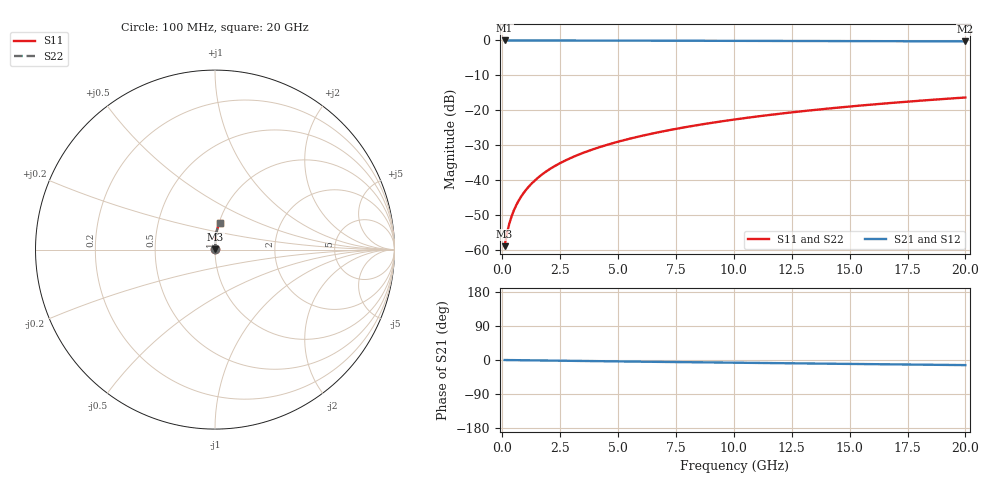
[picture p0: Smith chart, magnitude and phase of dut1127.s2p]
! Touchstone file exported from HFSS 2024.1.0
!  File:  C:/UserFiles/LocalFiles/RDL_TSV_Batchsim/temp_RDL_bottom_1127_1780055108.aedt
!  Generated:  07:47:09 PM May 29, 2026
!  Design:  RDL_bottom
!  Project:  temp_RDL_bottom_1127_1780055108
!  Setup:  Setup1
!  Solution:  Sweep
! Variables:
!  dtsv = 10.80580581um
!  hbump = 3um
!  htsv = 93.62um
!  ldown = 164.12um
!  lrdl = 100um
!  p = 40
!  p1 = 45.56um
!  rhole = 1um
!  t = 450um
!  tdown = 4.44um
!  trdl = 3.915915916um
!  wdown = 18.84um
!  wrdl = 20um
# GHz S MA R 50.000000
! Terminal data exported
! Port[1] = RDL1_T1
! Port[2] = RDL1_T2
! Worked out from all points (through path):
!   200 points, 100 MHz to 20 GHz, reference 50 ohm
!   highest |S21| = -0.01 dB at 100 MHz (marker M1); lowest = -0.3 dB at 20 GHz (marker M2)
!   group delay of S21, straight-line fit = 1.86 ps
!   lowest |S11| = -58.9 dB at 100 MHz (marker M3), VSWR 1.00, Z = 50.1 + j0.0753 ohm
!   |S11| at or under -10 dB: start of sweep to end of sweep
!   |S22| runs from -58.9 to -16.3 dB; largest |S21 - S12| = 4.2e-15
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0.1  0.001138 41.4  0.9991 -0.1  0.9991 -0.1  0.001138 41.4
! Gamma 0 0 0 0
! Port Impedance 50 0 50 0
0.2  0.001728 58.9  0.9991 -0.2  0.9991 -0.2  0.001728 58.9
0.3  0.002374 67.0  0.9991 -0.2  0.9991 -0.2  0.002374 67.0
0.4  0.003035 71.7  0.999 -0.3  0.999 -0.3  0.003035 71.7
0.5  0.003702 74.8  0.999 -0.4  0.999 -0.4  0.003702 74.8
0.6  0.004376 77.0  0.9989 -0.5  0.9989 -0.5  0.004376 77.0
0.8  0.005736 80.0  0.9989 -0.6  0.9989 -0.6  0.005736 80.0
1.1  0.007798 82.6  0.9987 -0.8  0.9987 -0.8  0.007798 82.6
1.5  0.01057 84.5  0.9985 -1.1  0.9985 -1.1  0.01057 84.5
1.8  0.01266 85.4  0.9983 -1.4  0.9983 -1.4  0.01266 85.4
2.1  0.01477 86.0  0.9981 -1.6  0.9981 -1.6  0.01477 86.0
2.7  0.01899 86.9  0.9975 -2.0  0.9975 -2.0  0.01899 86.9
3.5  0.02468 87.5  0.9966 -2.6  0.9966 -2.6  0.02468 87.5
4.2  0.02972 87.9  0.9957 -3.1  0.9957 -3.1  0.02972 87.9
5  0.03555 88.0  0.9946 -3.7  0.9946 -3.7  0.03555 88.0
5.9  0.04221 88.1  0.9932 -4.3  0.9932 -4.3  0.04221 88.1
6.8  0.04897 88.0  0.9918 -5.0  0.9918 -5.0  0.04897 88.0
8.4  0.06122 87.6  0.9891 -6.1  0.9891 -6.1  0.06122 87.6
10.1  0.07449 86.9  0.9862 -7.2  0.9862 -7.2  0.07449 86.9
13.4  0.1006 84.9  0.9807 -9.3  0.9807 -9.3  0.1006 84.9
16.7  0.1268 82.7  0.9753 -11.4  0.9753 -11.4  0.1268 82.7
20  0.1526 80.4  0.9697 -13.5  0.9697 -13.5  0.1526 80.4
